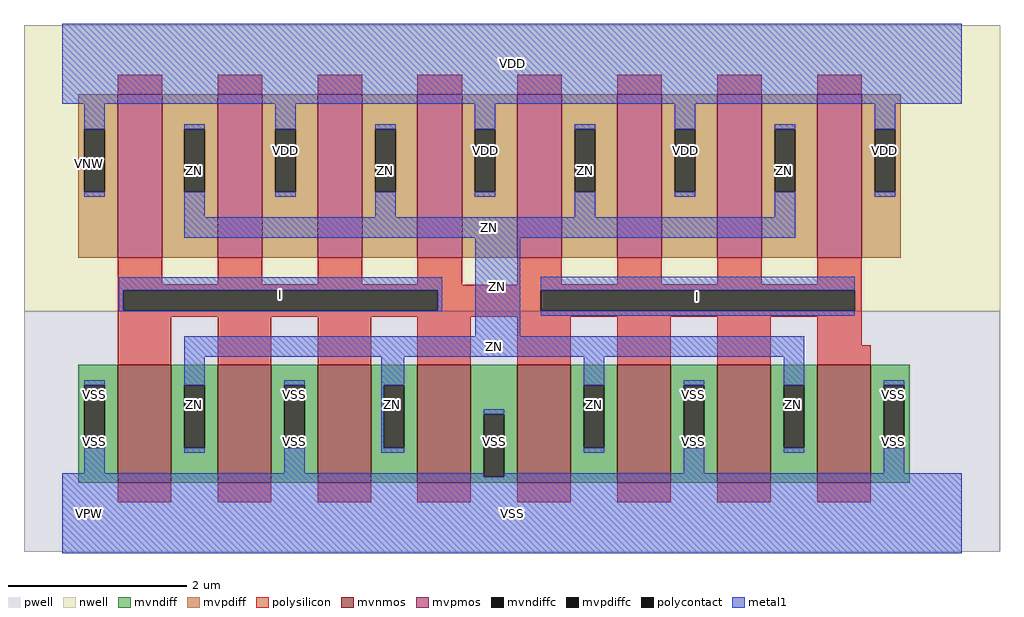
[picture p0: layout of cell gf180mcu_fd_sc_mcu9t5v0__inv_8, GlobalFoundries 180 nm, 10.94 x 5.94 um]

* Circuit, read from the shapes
.subckt gf180mcu_fd_sc_mcu9t5v0__inv_8 I ZN VDD VNW VPW VSS
XM1 ZN I VSS VPW nfet_06v0 w=1.32u l=0.6u m=8
XM2 ZN I VDD VNW pfet_06v0 w=1.83u l=0.5u m=8
.ends

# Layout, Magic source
magic
tech gf180mcuD
magscale 1 10
<< nwell >>
rect -86 453 2102 1094
<< pwell >>
rect -86 -86 2102 453
<< mvnmos >>
rect 124 69 244 333
rect 348 69 468 333
rect 572 69 692 333
rect 796 69 916 333
rect 1020 69 1140 333
rect 1244 69 1364 333
rect 1468 69 1588 333
rect 1692 69 1812 333
<< mvpmos >>
rect 124 573 224 939
rect 348 573 448 939
rect 572 573 672 939
rect 796 573 896 939
rect 1020 573 1120 939
rect 1244 573 1344 939
rect 1468 573 1568 939
rect 1692 573 1792 939
<< mvndiff >>
rect 36 287 124 333
rect 36 147 49 287
rect 95 147 124 287
rect 36 69 124 147
rect 244 287 348 333
rect 244 147 273 287
rect 319 147 348 287
rect 244 69 348 147
rect 468 287 572 333
rect 468 147 497 287
rect 543 147 572 287
rect 468 69 572 147
rect 692 287 796 333
rect 692 147 721 287
rect 767 147 796 287
rect 692 69 796 147
rect 916 222 1020 333
rect 916 82 945 222
rect 991 82 1020 222
rect 916 69 1020 82
rect 1140 287 1244 333
rect 1140 147 1169 287
rect 1215 147 1244 287
rect 1140 69 1244 147
rect 1364 287 1468 333
rect 1364 147 1393 287
rect 1439 147 1468 287
rect 1364 69 1468 147
rect 1588 287 1692 333
rect 1588 147 1617 287
rect 1663 147 1692 287
rect 1588 69 1692 147
rect 1812 287 1900 333
rect 1812 147 1841 287
rect 1887 147 1900 287
rect 1812 69 1900 147
<< mvpdiff >>
rect 36 861 124 939
rect 36 721 49 861
rect 95 721 124 861
rect 36 573 124 721
rect 224 861 348 939
rect 224 721 273 861
rect 319 721 348 861
rect 224 573 348 721
rect 448 861 572 939
rect 448 721 477 861
rect 523 721 572 861
rect 448 573 572 721
rect 672 861 796 939
rect 672 721 701 861
rect 747 721 796 861
rect 672 573 796 721
rect 896 861 1020 939
rect 896 721 925 861
rect 971 721 1020 861
rect 896 573 1020 721
rect 1120 861 1244 939
rect 1120 721 1149 861
rect 1195 721 1244 861
rect 1120 573 1244 721
rect 1344 861 1468 939
rect 1344 721 1373 861
rect 1419 721 1468 861
rect 1344 573 1468 721
rect 1568 861 1692 939
rect 1568 721 1597 861
rect 1643 721 1692 861
rect 1568 573 1692 721
rect 1792 861 1880 939
rect 1792 721 1821 861
rect 1867 721 1880 861
rect 1792 573 1880 721
<< mvndiffc >>
rect 49 147 95 287
rect 273 147 319 287
rect 497 147 543 287
rect 721 147 767 287
rect 945 82 991 222
rect 1169 147 1215 287
rect 1393 147 1439 287
rect 1617 147 1663 287
rect 1841 147 1887 287
<< mvpdiffc >>
rect 49 721 95 861
rect 273 721 319 861
rect 477 721 523 861
rect 701 721 747 861
rect 925 721 971 861
rect 1149 721 1195 861
rect 1373 721 1419 861
rect 1597 721 1643 861
rect 1821 721 1867 861
<< polysilicon >>
rect 124 939 224 983
rect 348 939 448 983
rect 572 939 672 983
rect 796 939 896 983
rect 1020 939 1120 983
rect 1244 939 1344 983
rect 1468 939 1568 983
rect 1692 939 1792 983
rect 124 513 224 573
rect 348 513 448 573
rect 572 513 672 573
rect 796 513 896 573
rect 124 512 896 513
rect 1020 513 1120 573
rect 1244 513 1344 573
rect 1468 513 1568 573
rect 1692 513 1792 573
rect 1020 512 1792 513
rect 124 500 1792 512
rect 124 454 137 500
rect 841 454 1072 500
rect 1776 454 1792 500
rect 124 441 1792 454
rect 124 333 244 441
rect 348 333 468 441
rect 572 333 692 441
rect 796 333 916 441
rect 1020 333 1140 441
rect 1244 333 1364 441
rect 1468 333 1588 441
rect 1692 377 1792 441
rect 1692 333 1812 377
rect 124 25 244 69
rect 348 25 468 69
rect 572 25 692 69
rect 796 25 916 69
rect 1020 25 1140 69
rect 1244 25 1364 69
rect 1468 25 1588 69
rect 1692 25 1812 69
<< polycontact >>
rect 137 454 841 500
rect 1072 454 1776 500
<< metal1 >>
rect 0 918 2016 1098
rect 49 861 95 918
rect 49 710 95 721
rect 273 861 319 872
rect 273 664 319 721
rect 477 861 523 918
rect 477 710 523 721
rect 701 861 747 872
rect 701 664 747 721
rect 925 861 971 918
rect 925 710 971 721
rect 1149 861 1195 872
rect 1149 664 1195 721
rect 1373 861 1419 918
rect 1373 710 1419 721
rect 1597 861 1643 872
rect 1597 664 1643 721
rect 1821 861 1867 918
rect 1821 710 1867 721
rect 273 618 1643 664
rect 126 500 852 529
rect 126 454 137 500
rect 841 454 852 500
rect 126 453 852 454
rect 926 397 1026 618
rect 1072 500 1776 530
rect 1072 443 1776 454
rect 273 351 1663 397
rect 49 287 95 298
rect 49 90 95 147
rect 273 287 319 351
rect 273 136 319 147
rect 497 287 543 298
rect 497 90 543 147
rect 715 287 767 351
rect 715 147 721 287
rect 1169 287 1215 351
rect 715 136 767 147
rect 945 222 991 233
rect 0 82 945 90
rect 1169 136 1215 147
rect 1393 287 1439 298
rect 1393 90 1439 147
rect 1617 287 1663 351
rect 1617 136 1663 147
rect 1841 287 1887 298
rect 1841 90 1887 147
rect 991 82 2016 90
rect 0 -90 2016 82
<< labels >>
flabel metal1 s 126 453 852 529 0 FreeSans 200 0 0 0 I
port 1 nsew default input
flabel metal1 s 0 918 2016 1098 0 FreeSans 200 0 0 0 VDD
port 3 nsew power bidirectional abutment
flabel metal1 s 1841 233 1887 298 0 FreeSans 200 0 0 0 VSS
port 6 nsew ground bidirectional abutment
flabel metal1 s 1597 664 1643 872 0 FreeSans 200 0 0 0 ZN
port 2 nsew default output
flabel nwell s 10 734 110 834 0 FreeSans 400 0 0 0 VNW
port 4 nsew power bidirectional
flabel pwell s 10 -50 110 50 0 FreeSans 400 0 0 0 VPW
port 5 nsew ground bidirectional
rlabel metal1 s 1072 443 1776 530 1 I
port 1 nsew default input
rlabel metal1 s 1149 664 1195 872 1 ZN
port 2 nsew default output
rlabel metal1 s 701 664 747 872 1 ZN
port 2 nsew default output
rlabel metal1 s 273 664 319 872 1 ZN
port 2 nsew default output
rlabel metal1 s 273 618 1643 664 1 ZN
port 2 nsew default output
rlabel metal1 s 926 397 1026 618 1 ZN
port 2 nsew default output
rlabel metal1 s 273 351 1663 397 1 ZN
port 2 nsew default output
rlabel metal1 s 1617 136 1663 351 1 ZN
port 2 nsew default output
rlabel metal1 s 1169 136 1215 351 1 ZN
port 2 nsew default output
rlabel metal1 s 715 136 767 351 1 ZN
port 2 nsew default output
rlabel metal1 s 273 136 319 351 1 ZN
port 2 nsew default output
rlabel metal1 s 1821 710 1867 918 1 VDD
port 3 nsew power bidirectional abutment
rlabel metal1 s 1373 710 1419 918 1 VDD
port 3 nsew power bidirectional abutment
rlabel metal1 s 925 710 971 918 1 VDD
port 3 nsew power bidirectional abutment
rlabel metal1 s 477 710 523 918 1 VDD
port 3 nsew power bidirectional abutment
rlabel metal1 s 49 710 95 918 1 VDD
port 3 nsew power bidirectional abutment
rlabel metal1 s 1393 233 1439 298 1 VSS
port 6 nsew ground bidirectional abutment
rlabel metal1 s 497 233 543 298 1 VSS
port 6 nsew ground bidirectional abutment
rlabel metal1 s 49 233 95 298 1 VSS
port 6 nsew ground bidirectional abutment
rlabel metal1 s 1841 90 1887 233 1 VSS
port 6 nsew ground bidirectional abutment
rlabel metal1 s 1393 90 1439 233 1 VSS
port 6 nsew ground bidirectional abutment
rlabel metal1 s 945 90 991 233 1 VSS
port 6 nsew ground bidirectional abutment
rlabel metal1 s 497 90 543 233 1 VSS
port 6 nsew ground bidirectional abutment
rlabel metal1 s 49 90 95 233 1 VSS
port 6 nsew ground bidirectional abutment
rlabel metal1 s 0 -90 2016 90 1 VSS
port 6 nsew ground bidirectional abutment
<< properties >>
string FIXED_BBOX 0 0 2016 1008
string GDS_END 887304
string GDS_FILE $PDKPATH/libs.ref/gf180mcu_fd_sc_mcu9t5v0/gds/gf180mcu_fd_sc_mcu9t5v0.gds
string GDS_START 881266
string LEFclass core
string LEFsite GF018hv5v_green_sc9
string LEFsymmetry X Y
<< end >>
